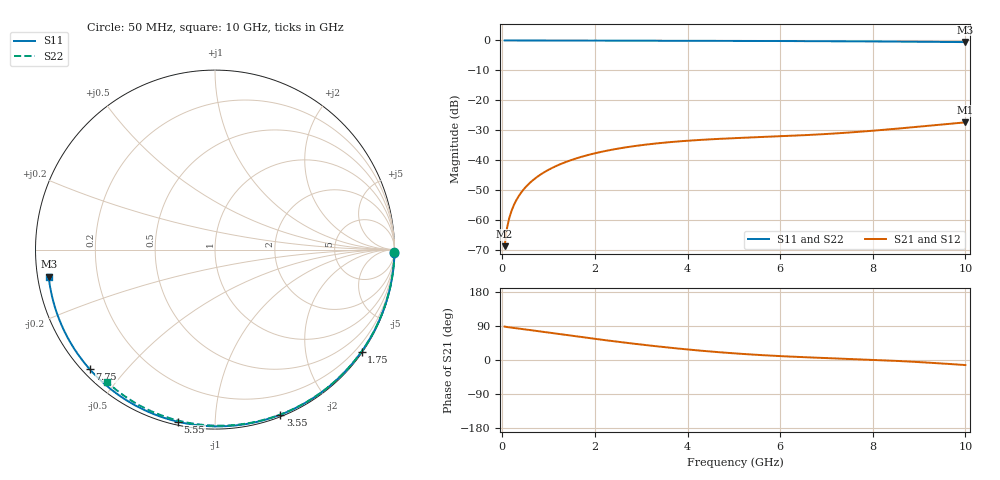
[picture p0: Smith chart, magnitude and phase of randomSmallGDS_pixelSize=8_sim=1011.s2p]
! freq	dB(S11)	phase(S11)	dB(S12)	phase(S12)
!  dB(S21)	phase(S21)	dB(S22)	phase(S22)
!S-par simulation data
#  GHz  S  DB  R 50
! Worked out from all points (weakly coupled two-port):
!   200 points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, 50 MHz to 10 GHz, reference 50 ohm
!   highest |S21| = -27.34 dB at 10 GHz (marker M1); lowest = -68.7 dB at 50 MHz (marker M2)
!   lowest |S11| = -0.5 dB at 10 GHz (marker M3), VSWR 31.70, Z = 1.59 - j4.02 ohm
!   |S11| at or under -10 dB: nowhere
!   |S22| runs from -0.4 to 0.0 dB; largest |S21 - S12| = 0
!   S11 on the Smith chart (normalised r, x): 50 MHz: open; 1.75 GHz: 0.03, -3.19; 3.55 GHz: 0.02, -1.47; 5.55 GHz: 0.02, -0.81; 7.75 GHz: 0.02, -0.40; 10 GHz: 0.03, -0.08
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0.05  -0.00 -1.0  -68.68 88.3  -68.68 88.3  -0.00 -0.8
0.1  -0.00 -2.0  -62.75 87.0  -62.75 87.0  -0.00 -1.5
0.15  -0.00 -3.0  -59.31 86.1  -59.31 86.1  -0.00 -2.3
0.2  -0.00 -4.1  -56.86 85.3  -56.86 85.3  -0.00 -3.0
0.25  -0.00 -5.1  -54.96 84.6  -54.96 84.6  -0.00 -3.8
0.35  -0.01 -7.1  -52.08 83.0  -52.08 83.0  -0.00 -5.3
0.5  -0.01 -10.1  -49.03 80.6  -49.03 80.6  -0.01 -7.5
0.7  -0.02 -14.1  -46.16 77.3  -46.16 77.3  -0.01 -10.5
1  -0.02 -20.1  -43.16 72.3  -43.16 72.3  -0.02 -15.0
1.35  -0.03 -27.0  -40.70 66.4  -40.70 66.4  -0.03 -20.2
1.75  -0.04 -34.8  -38.67 59.8  -38.67 59.8  -0.03 -26.0
2.6  -0.07 -51.0  -35.85 46.5  -35.85 46.5  -0.05 -38.3
3.4  -0.09 -65.7  -34.26 35.3  -34.26 35.3  -0.07 -49.5
3.55  -0.09 -68.4  -34.04 33.3  -34.04 33.3  -0.07 -51.6
4.3  -0.12 -81.5  -33.18 24.5  -33.18 24.5  -0.09 -61.7
5.05  -0.14 -94.1  -32.59 17.2  -32.59 17.2  -0.11 -71.5
5.55  -0.17 -102.2  -32.27 13.2  -32.27 13.2  -0.13 -77.9
6.7  -0.23 -120.3  -31.48 6.6  -31.48 6.6  -0.18 -91.9
7.75  -0.31 -136.3  -30.44 1.8  -30.44 1.8  -0.24 -104.2
8.35  -0.36 -145.4  -29.68 -1.4  -29.68 -1.4  -0.28 -111.0
9.2  -0.45 -158.3  -28.49 -7.0  -28.49 -7.0  -0.35 -120.4
10  -0.55 -170.8  -27.34 -13.4  -27.34 -13.4  -0.43 -129.1
